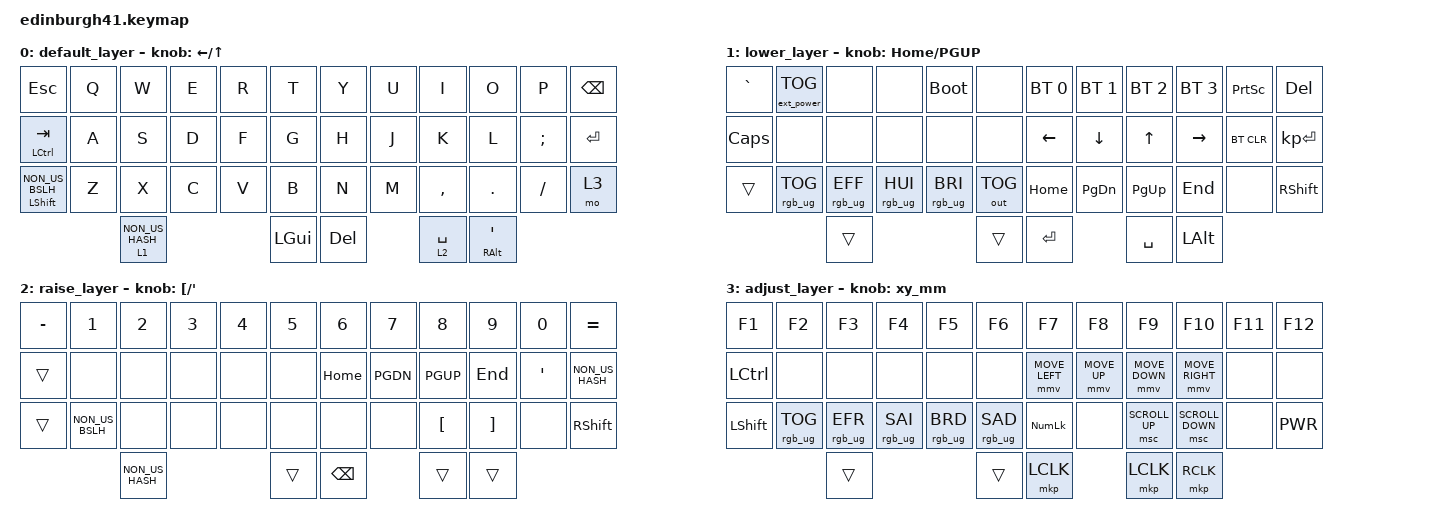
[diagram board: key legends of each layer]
/*
 * Copyright (c) 2020 The ZMK Contributors
 *
 * SPDX-License-Identifier: MIT
 */

#include <behaviors.dtsi>
#include <dt-bindings/zmk/keys.h>
#include <dt-bindings/zmk/bt.h>
#include <dt-bindings/zmk/rgb.h>
#include <dt-bindings/zmk/ext_power.h>
#include <dt-bindings/zmk/mouse.h>
#include <dt-bindings/zmk/outputs.h>

/ {
        keymap {
                compatible = "zmk,keymap";

                default_layer {
// -------------------------------------------------------------------------------------
// |  TAB |  Q  |  W  |  E  |  R  |  T  |   |  Y  |  U   |  I  |  O  |  P  |   BKSP    |
// | CTRL |  A  |  S  |  D  |  F  |  G  |   |  H  |  J   |  K  |  L  |  ;  |   RET     |
// | SHFT |  Z  |  X  |  C  |  V  |  B  |   |  N  |  M   |  ,  |  .  |  /  |  ADJUST   |
//                         | LOWER | WIN | CURSOR | SPACE  | ALT |
                        bindings = <
   &kp ESC       &kp Q &kp W &kp E &kp R &kp T   &kp Y &kp U  &kp I     &kp O   &kp P    &kp BSPC
   &mt LCTRL TAB &kp A &kp S &kp D &kp F &kp G   &kp H &kp J  &kp K     &kp L   &kp SEMI &kp RET
   &mt LSHFT NON_US_BSLH &kp Z &kp X &kp C &kp V &kp B   &kp N &kp M  &kp COMMA &kp DOT &kp FSLH &mo 3 
                        &lt 1 NON_US_HASH &kp LGUI  &kp DEL &lt 2 SPACE &mt RALT SQT

                        >;

			sensor-bindings = <&varxy_kp LEFT UP>;
                };

                lower_layer {
                        bindings = <
   &kp GRAVE &ext_power EP_TOG  &none      &none &bootloader &none      &bt BT_SEL 0 &bt BT_SEL 1 &bt BT_SEL 2 &bt BT_SEL 3  &kp PSCRN  &kp DEL
   &kp CLCK &none &none &none &none &none           &kp LEFT  &kp DOWN &kp UP    &kp RIGHT &bt BT_CLR &kp KP_ENTER
   &trans &rgb_ug RGB_TOG &rgb_ug RGB_EFF &rgb_ug RGB_HUI &rgb_ug RGB_BRI &out OUT_TOG        &kp HOME  &kp PG_DN &kp PG_UP &kp END &none &kp RSHFT
                                 &trans      &trans       &kp RET        &kp SPC      &kp LALT
                        >;
			sensor-bindings = <&varxy3_kp HOME PGUP>;
                };

                raise_layer {
                        bindings = <
   &kp MINUS &kp N1    &kp N2    &kp N3    &kp N4    &kp N5        &kp N6    &kp N7    &kp N8    &kp N9    &kp N0    &kp EQUAL
   &trans &none &none &none  &none  &none        &kp HOME  &kp PGDN       &kp PGUP        &kp END   &kp SQT    &kp NON_US_HASH
   &trans &kp NON_US_BSLH   &none  &none  &none  &none       &none    &none   &kp LBKT    &kp RBKT   &none   &kp RSHFT
                               &kp NON_US_HASH &trans             &kp BSPC        &trans      &trans
                        >;
			sensor-bindings = <&xy1_kp LBKT SQT>;
                };

                adjust_layer {
                        bindings = <
   &kp F1 &kp F2 &kp F3 &kp F4 &kp F5 &kp F6 &kp F7 &kp F8 &kp F9 &kp F10 &kp F11 &kp F12
   &kp LCTRL &none &none   &none &none &none               &mmv MOVE_LEFT    &mmv MOVE_UP &mmv MOVE_DOWN &mmv MOVE_RIGHT      &none        &none
   &kp LSHFT &rgb_ug RGB_TOG &rgb_ug RGB_EFR   &rgb_ug RGB_SAI &rgb_ug RGB_BRD &rgb_ug RGB_SAD    &kp KP_NUM &none &msc SCROLL_UP    &msc SCROLL_DOWN       &none &kp K_PWR
                                                             &trans      &trans &mkp LCLK     &mkp LCLK &mkp RCLK
                        >;
			sensor-bindings = <&xy_mm>;
                };
        };

};
